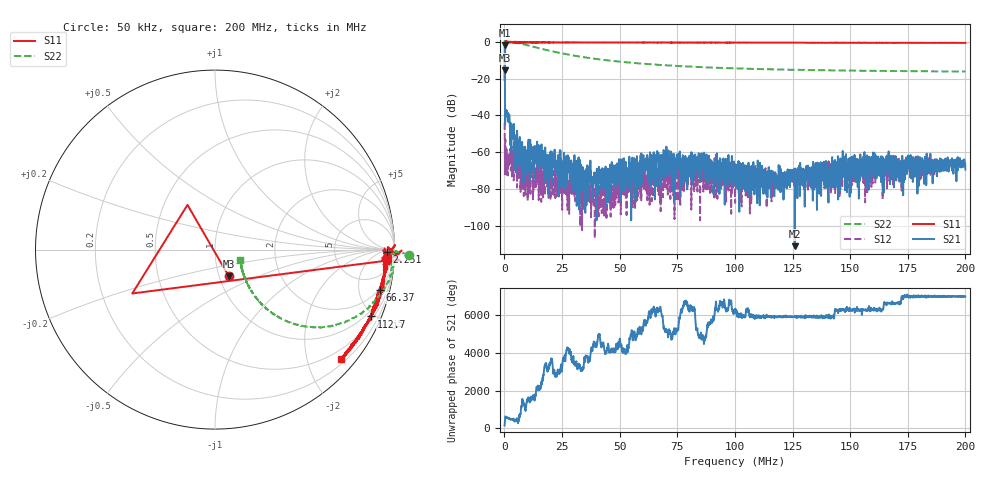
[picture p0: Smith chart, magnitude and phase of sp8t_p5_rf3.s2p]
! 26-Feb-26 12:19:30 PM
! E:\VNA_MEASUREMENTS\SP8T\SP8T_P5_RF3.S2P
! CHANNEL.1
! TR.MEASUREMENT
! CORRECTED.DATA
# GHZ S RI R 50.0
! FREQ.GHZ  S11RE  S11IM  S21RE  S21IM  S12RE  S12IM  S22RE  S22IM
!; PortSelection: Port_12
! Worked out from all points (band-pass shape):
!   2000 points, 50 kHz to 200 MHz, reference 50 ohm
!   highest |S21| = -1.85 dB at 150 kHz (marker M1); lowest = -111.1 dB at 126 MHz (marker M2)
!   |S21| within 3 dB of the highest: 134.2 kHz to 157 kHz (22.76 kHz wide, 15.6 % of centre)
!   lowest |S11| = -15.5 dB at 50 kHz (marker M3), VSWR 1.40, Z = 55.6 - j17 ohm
!   |S11| at or under -10 dB: start of sweep to 163.5 kHz
!   |S22| runs from -16.3 to 0.7 dB; largest |S21 - S12| = 0.81
!   S11 on the Smith chart (normalised r, x): 50 kHz: 1.11, -0.34; 2.251 MHz: 42, -15; 66.37 MHz: 1.83, -7.91; 112.7 MHz: 0.66, -4.79; 200 MHz: 0.29, -2.63
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5e-05  0.0769 -0.1489  -0.0852 0.0326  0.00266 -0.00568  1.083 -0.0274
0.000150025  -0.1533 0.2491  0.3566 -0.7256  -0.000113 0.000747  1.005 -0.00881
0.001150275  0.9852 -0.0384  -0.00754 -0.00747  -4.46e-05 -0.00082  0.981 -0.0821
0.00225055  0.959 -0.0146  -0.00531 0.00318  0.000384 0.000321  0.9734 -0.1448
0.005351326  0.9565 -0.0312  -0.00143 0.000167  0.000526 9.51e-05  0.8774 -0.3027
0.008852201  0.9558 -0.0303  0.00086 -0.000313  0.000432 -2.29e-05  0.7316 -0.3978
0.0140535  0.9605 -0.0524  0.00127 7.04e-05  -0.000208 -9.76e-05  0.5404 -0.4315
0.03345835  0.9457 -0.1174  -8.97e-05 -2.02e-05  -5.43e-05 -2.83e-05  0.2521 -0.2952
0.04506126  0.9382 -0.1552  1.31e-05 0.000263  6.54e-05 -8.4e-06  0.2046 -0.2342
0.06636658  0.9199 -0.2241  -0.00058 -6.26e-05  2.77e-05 -0.000192  0.1702 -0.1659
0.06676668  0.9281 -0.228  -0.00083 0.00049  -9.45e-05 0.00022  0.1696 -0.1648
0.07896973  0.9138 -0.2641  -0.000648 -0.000163  -0.000114 0.000185  0.16 -0.1405
0.08567141  0.8975 -0.2925  -0.000121 0.000599  0.000187 0.000332  0.1566 -0.1304
0.09047261  0.8938 -0.2999  -0.000442 0.000187  -0.000399 0.000295  0.1552 -0.1234
0.09447361  0.8892 -0.3193  -0.000369 -0.000178  -6.61e-05 8.56e-05  0.1525 -0.1194
0.100075  0.8889 -0.333  -0.000212 0.00042  1.23e-05 -3.96e-05  0.1514 -0.113
0.1126782  0.8705 -0.3726  7.36e-05 0.000127  -0.000291 0.000119  0.1488 -0.1004
0.1259815  0.8496 -0.4108  -2.4e-06 1.4e-06  -0.000153 0.000263  0.1463 -0.0914
0.1333833  0.8364 -0.4295  -0.000161 0.000243  -0.00034 0.000201  0.1459 -0.0865
0.1666917  0.7707 -0.53  -0.000981 0.000362  -0.000479 0.000547  0.1435 -0.0711
0.1710928  0.761 -0.5298  -0.000238 0.000268  -0.000702 0.000141  0.1431 -0.0694
0.2  0.6996 -0.6121  -0.000201 0.000267  -0.000262 0.000414  0.142 -0.0603
